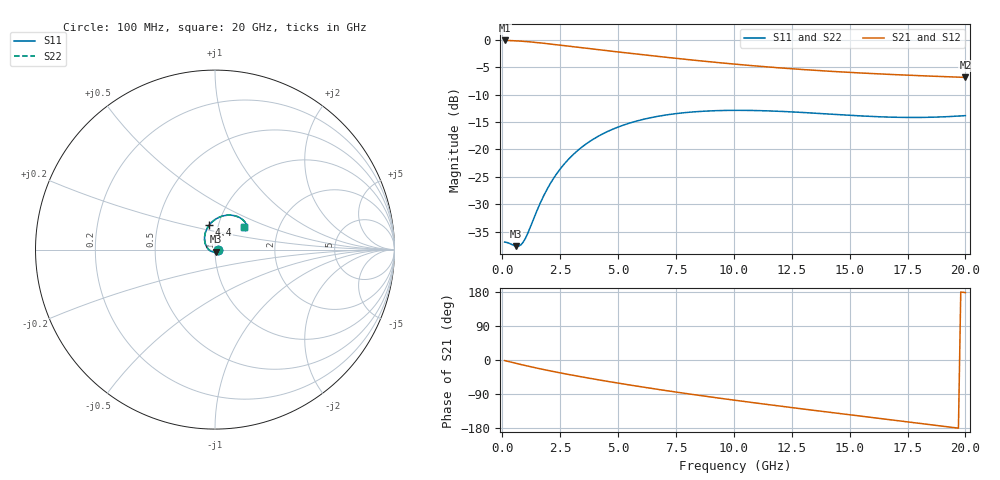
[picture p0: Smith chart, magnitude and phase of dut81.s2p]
! Created with skrf 1.9.0 (http://scikit-rf.org).
# GHz S RI R 50.0
!freq ReS11 ImS11 ReS21 ImS21 ReS12 ImS12 ReS22 ImS22
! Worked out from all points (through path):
!   200 points, 100 MHz to 20 GHz, reference 50 ohm
!   highest |S21| = -0.13 dB at 100 MHz (marker M1); lowest = -6.9 dB at 20 GHz (marker M2)
!   group delay of S21, straight-line fit = 24.1 ps
!   lowest |S11| = -37.7 dB at 600 MHz (marker M3), VSWR 1.03, Z = 50.6 - j1.18 ohm
!   |S11| at or under -10 dB: start of sweep to end of sweep
!   |S22| runs from -37.7 to -12.9 dB; largest |S21 - S12| = 2.3e-15
!   S11 on the Smith chart (normalised r, x): 100 MHz: 1.03, -0.00; 4.4 GHz: 0.90, +0.25; 20 GHz: 1.32, +0.35
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0.1  0.0141 -0.00212  0.9851 -0.0259  0.9851 -0.0259  0.0141 -0.00212
0.6  0.00605 -0.0116  0.9655 -0.1515  0.9655 -0.1515  0.00605 -0.0116
0.8  -8.39e-05 -0.0135  0.9509 -0.1988  0.9509 -0.1988  -8.39e-05 -0.0135
0.9  -0.00359 -0.0138  0.9424 -0.2217  0.9424 -0.2217  -0.00359 -0.0138
1  -0.0073 -0.0136  0.9331 -0.2439  0.9331 -0.2439  -0.0073 -0.0136
1.7  -0.0345 4.91e-05  0.8519 -0.381  0.8519 -0.381  -0.0345 4.91e-05
2  -0.0443 0.0119  0.8113 -0.4298  0.8113 -0.4298  -0.0443 0.0119
2.3  -0.0517 0.0262  0.7688 -0.473  0.7688 -0.473  -0.0517 0.0262
2.6  -0.0564 0.0423  0.7253 -0.5112  0.7253 -0.5112  -0.0564 0.0423
2.9  -0.0583 0.0591  0.6811 -0.5446  0.6811 -0.5446  -0.0583 0.0591
3.5  -0.054 0.0929  0.5921 -0.5992  0.5921 -0.5992  -0.054 0.0929
4.4  -0.0317 0.1371  0.4604 -0.6549  0.4604 -0.6549  -0.0317 0.1371
5.5  0.0102 0.1735  0.3071 -0.6878  0.3071 -0.6878  0.0102 0.1735
6.8  0.0641 0.1913  0.1429 -0.6875  0.1429 -0.6875  0.0641 0.1913
8.4  0.1198 0.1857  -0.0281 -0.6464  -0.0281 -0.6464  0.1198 0.1857
10.1  0.158 0.1632  -0.1714 -0.5726  -0.1714 -0.5726  0.158 0.1632
11.7  0.1751 0.1393  -0.2746 -0.488  -0.2746 -0.488  0.1751 0.1393
13.4  0.1786 0.119  -0.3562 -0.3896  -0.3562 -0.3896  0.1786 0.119
15  0.1737 0.1083  -0.4103 -0.2926  -0.4103 -0.2926  0.1737 0.1083
16.7  0.1656 0.1068  -0.4459 -0.1869  -0.4459 -0.1869  0.1656 0.1068
18.3  0.1597 0.1136  -0.4596 -0.0869  -0.4596 -0.0869  0.1597 0.1136
20  0.1589 0.1268  -0.4533 0.0169  -0.4533 0.0169  0.1589 0.1268
